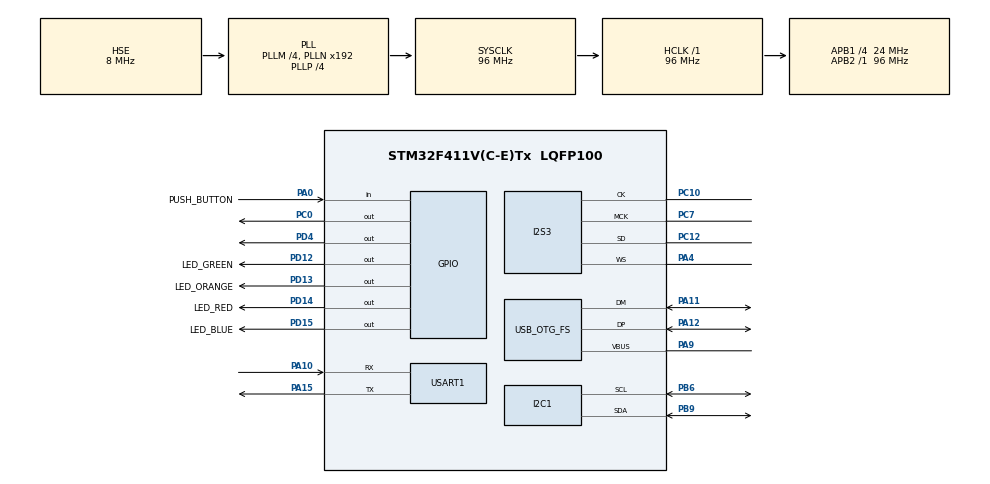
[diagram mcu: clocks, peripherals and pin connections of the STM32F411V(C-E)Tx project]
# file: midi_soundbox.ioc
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Dma.Request0=SPI3_TX
Dma.SPI3_TX.0.Direction=DMA_MEMORY_TO_PERIPH
Dma.SPI3_TX.0.FIFOMode=DMA_FIFOMODE_ENABLE
Dma.SPI3_TX.0.FIFOThreshold=DMA_FIFO_THRESHOLD_FULL
Dma.SPI3_TX.0.Instance=DMA1_Stream5
Dma.SPI3_TX.0.MemBurst=DMA_MBURST_SINGLE
Dma.SPI3_TX.0.MemDataAlignment=DMA_MDATAALIGN_HALFWORD
Dma.SPI3_TX.0.MemInc=DMA_MINC_ENABLE
Dma.SPI3_TX.0.Mode=DMA_CIRCULAR
Dma.SPI3_TX.0.PeriphBurst=DMA_PBURST_SINGLE
Dma.SPI3_TX.0.PeriphDataAlignment=DMA_PDATAALIGN_HALFWORD
Dma.SPI3_TX.0.PeriphInc=DMA_PINC_DISABLE
Dma.SPI3_TX.0.Priority=DMA_PRIORITY_LOW
I2S3.AudioFreq=I2S_AUDIOFREQ_48K
I2S3.ErrorAudioFreq=0.15 %
I2S3.FullDuplexMode=I2S_FULLDUPLEXMODE_DISABLE
I2S3.Instance=SPI$Index
I2S3.RealAudioFreq=48.076 KHz
I2S3.VirtualMode=I2S_MODE_MASTER
Mcu.Family=STM32F4
Mcu.Name=STM32F411V(C-E)Tx
Mcu.Package=LQFP100
NVIC.DMA1_Stream5_IRQn=true\:0\:0\:false\:false\:true\:false\:true\:true
NVIC.OTG_FS_IRQn=true\:0\:0\:false\:false\:true\:false\:true\:true
NVIC.PriorityGroup=NVIC_PRIORITYGROUP_0
PA0-WKUP.GPIO_Label=PUSH_BUTTON
PA0-WKUP.Signal=GPIO_Input
PA10.Mode=Asynchronous
PA10.Signal=USART1_RX
PA11.Mode=Host_Only
PA11.Signal=USB_OTG_FS_DM
PA12.Mode=Host_Only
PA12.Signal=USB_OTG_FS_DP
PA15.Mode=Asynchronous
PA15.Signal=USART1_TX
PA4.Mode=Half_Duplex_Master
PA4.Signal=I2S3_WS
PA9.Mode=Activate_VBUS
PA9.Signal=USB_OTG_FS_VBUS
PB6.Mode=I2C
PB6.Signal=I2C1_SCL
PB9.Mode=I2C
PB9.Signal=I2C1_SDA
PC0.Signal=GPIO_Output
PC10.Mode=Half_Duplex_Master
PC10.Signal=I2S3_CK
PC12.Mode=Half_Duplex_Master
PC12.Signal=I2S3_SD
PC7.Mode=Master_Clock_Activated
PC7.Signal=I2S3_MCK
PD12.GPIO_Label=LED_GREEN
PD12.Signal=GPIO_Output
PD13.GPIO_Label=LED_ORANGE
PD13.Signal=GPIO_Output
PD14.GPIO_Label=LED_RED
PD14.Signal=GPIO_Output
PD15.GPIO_Label=LED_BLUE
PD15.Signal=GPIO_Output
PD4.Signal=GPIO_Output
PH0\ -\ OSC_IN.Mode=HSE-External-Oscillator
PH0\ -\ OSC_IN.Signal=RCC_OSC_IN
PH1\ -\ OSC_OUT.Mode=HSE-External-Oscillator
PH1\ -\ OSC_OUT.Signal=RCC_OSC_OUT
ProjectManager.HeapSize=0x200
ProjectManager.StackSize=0x400
ProjectManager.TargetToolchain=STM32CubeIDE
RCC.48MHZClocksFreq_Value=48000000
RCC.AHBFreq_Value=96000000
RCC.APB1CLKDivider=RCC_HCLK_DIV4
RCC.APB1Freq_Value=24000000
RCC.APB1TimFreq_Value=48000000
RCC.APB2Freq_Value=96000000
RCC.APB2TimFreq_Value=96000000
RCC.CortexFreq_Value=96000000
RCC.HCLKFreq_Value=96000000
RCC.HSE_VALUE=8000000
RCC.HSI_VALUE=16000000
RCC.LSE_VALUE=32768
RCC.PLLI2SM=5
RCC.PLLI2SN=200
RCC.PLLM=4
RCC.PLLP=RCC_PLLP_DIV4
RCC.PLLQ=8
RCC.SYSCLKFreq_VALUE=96000000
RCC.SYSCLKSource=RCC_SYSCLKSOURCE_PLLCLK
RCC.VCOOutputFreq_Value=384000000
USART1.VirtualMode=VM_ASYNC
USB_HOST.BSP.number=1
USB_HOST.USBH_DEBUG_LEVEL=3
USB_HOST.USBH_HandleTypeDef=hUsbHostFS
USB_HOST.VirtualModeFS=Audio
USB_HOST0.BSP.STBoard=false
USB_HOST0.BSP.api=Unknown
USB_HOST0.BSP.instance=PC0
USB_HOST0.BSP.ip=GPIO
USB_HOST0.BSP.mode=Output
USB_HOST0.BSP.name=Drive_VBUS_FS
USB_HOST0.BSP.solution=PC0
USB_OTG_FS.VirtualMode=Host_Only
USB_OTG_FS.phy_itface=HCD_PHY_EMBEDDED
VP_USB_HOST_VS_USB_HOST_AUDIO_FS.Mode=AUDIO_FS
board=STM32F411E-DISCO

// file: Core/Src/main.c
/* USER CODE BEGIN Header */
/**
  ******************************************************************************
  * @file           : main.c
  * @brief          : Main program body
  ******************************************************************************
  * @attention
  *
  * Copyright (c) 2023 STMicroelectronics.
  * All rights reserved.
  *
  * This software is licensed under terms that can be found in the LICENSE file
  * in the root directory of this software component.
  * If no LICENSE file comes with this software, it is provided AS-IS.
  *
  ******************************************************************************
  */
/* USER CODE END Header */
#include "main.h"
#include "dma.h"
#include "i2c.h"
#include "i2s.h"
#include "usart.h"
#include "usb_host.h"
#include "gpio.h"

/* USER CODE BEGIN PV */
extern ApplicationTypeDef Appli_state;

/* USER CODE END PV */

void SystemClock_Config(void);
void MX_USB_HOST_Process(void);

int main(void)
{

  /* MCU Configuration--------------------------------------------------------*/

  /* Reset of all peripherals, Initializes the Flash interface and the Systick. */
  HAL_Init();

  /* Configure the system clock */
  SystemClock_Config();

  /* Initialize all configured peripherals */
  MX_GPIO_Init();
  MX_DMA_Init();
  MX_I2C1_Init();
  MX_I2S3_Init();
  MX_USB_HOST_Init();
  MX_USART1_UART_Init();
  /* USER CODE BEGIN 2 */
  MX_DriverVbusFS(0);

  // TODO temporary
  debug_init(&huart1);
  xprintf(ANSI_BG_MAGENTA "\nMIDI_SOUNDBOX" ANSI_BG_DEFAULT "\n");

  uint8_t counter = 0;

  counter += Codec_Init();
  counter += Codec_SetVolume(80);
  counter += Codec_Play();
  if (counter) {
    Error_Handler();
  }

  Synth_Init();
  if (Synth_Play() != 0) {
	Error_Handler();
  }

  uint8_t midi_started = 0;

  /* USER CODE END 2 */

  /* Infinite loop */
  while (1)
  {
    MX_USB_HOST_Process();

    /* USER CODE BEGIN 3 */
    if (Appli_state == APPLICATION_READY && !midi_started) {
      Midi_Start();
      midi_started = 1;
    } else if (Appli_state != APPLICATION_READY && midi_started) {
      Midi_Stop();
      midi_started = 0;
    }
  }
  /* USER CODE END 3 */
}

void SystemClock_Config(void)
{
  RCC_OscInitTypeDef RCC_OscInitStruct = {0};
  RCC_ClkInitTypeDef RCC_ClkInitStruct = {0};

  /** Configure the main internal regulator output voltage
  */
  __HAL_RCC_PWR_CLK_ENABLE();
  __HAL_PWR_VOLTAGESCALING_CONFIG(PWR_REGULATOR_VOLTAGE_SCALE1);

  /** Initializes the RCC Oscillators according to the specified parameters
  * in the RCC_OscInitTypeDef structure.
  */
  RCC_OscInitStruct.OscillatorType = RCC_OSCILLATORTYPE_HSE;
  RCC_OscInitStruct.HSEState = RCC_HSE_ON;
  RCC_OscInitStruct.PLL.PLLState = RCC_PLL_ON;
  RCC_OscInitStruct.PLL.PLLSource = RCC_PLLSOURCE_HSE;
  RCC_OscInitStruct.PLL.PLLM = 4;
  RCC_OscInitStruct.PLL.PLLN = 192;
  RCC_OscInitStruct.PLL.PLLP = RCC_PLLP_DIV4;
  RCC_OscInitStruct.PLL.PLLQ = 8;
  if (HAL_RCC_OscConfig(&RCC_OscInitStruct) != HAL_OK)
  {
    Error_Handler();
  }

  /** Initializes the CPU, AHB and APB buses clocks
  */
  RCC_ClkInitStruct.ClockType = RCC_CLOCKTYPE_HCLK|RCC_CLOCKTYPE_SYSCLK
                              |RCC_CLOCKTYPE_PCLK1|RCC_CLOCKTYPE_PCLK2;
  RCC_ClkInitStruct.SYSCLKSource = RCC_SYSCLKSOURCE_PLLCLK;
  RCC_ClkInitStruct.AHBCLKDivider = RCC_SYSCLK_DIV1;
  RCC_ClkInitStruct.APB1CLKDivider = RCC_HCLK_DIV4;
  RCC_ClkInitStruct.APB2CLKDivider = RCC_HCLK_DIV1;

  if (HAL_RCC_ClockConfig(&RCC_ClkInitStruct, FLASH_LATENCY_3) != HAL_OK)
  {
    Error_Handler();
  }
}

void Error_Handler(void)
{
  /* USER CODE BEGIN Error_Handler_Debug */
  /* User can add his own implementation to report the HAL error return state */
  HAL_GPIO_WritePin(LED_ORANGE_GPIO_Port, LED_ORANGE_Pin, GPIO_PIN_SET);
  xprintf("ERROR!");
  __disable_irq();
  while (1)
  {
  }
  /* USER CODE END Error_Handler_Debug */
}
